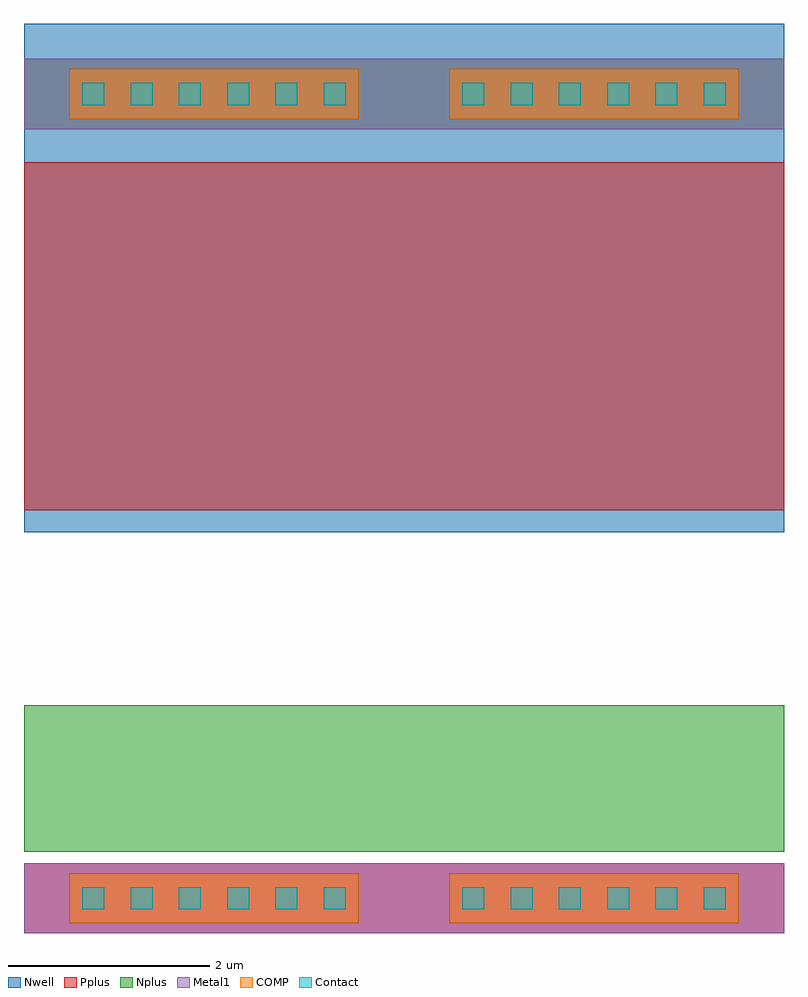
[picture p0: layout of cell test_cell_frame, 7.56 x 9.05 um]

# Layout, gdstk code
import gdstk
lib = gdstk.Library(unit=1e-6, precision=5e-09)
def R(c, l, rs):  # rectangles x0, y0, x1, y1
    for r in rs: c.add(gdstk.rectangle(r[:2], r[2:], *l))
def A(c, l, x, y, w, h, nx, ny, dx, dy):  # array of equal rectangles
    R(c, l, [(x+i*dx, y+j*dy, x+i*dx+w, y+j*dy+h) for i in range(nx) for j in range(ny)])
Nwell = (21, 0)
COMP = (22, 0)
Pplus = (31, 0)
Nplus = (32, 0)
Contact = (33, 0)
Metal1 = (34, 0)

std_cell_frame = lib.new_cell('std_cell_frame')
R(std_cell_frame, Nwell, [(0,3.99,3.78,9.05)])
R(std_cell_frame, COMP, [(0.45,0.1,3.33,0.6), (0.45,8.1,3.33,8.6)])
R(std_cell_frame, Pplus, [(0,0,3.78,0.7), (0,4.21,3.78,7.67)])
R(std_cell_frame, Nplus, [(0,0.81,3.78,2.27), (0,8,3.78,8.7)])
A(std_cell_frame, Contact, 0.58, 0.24, 0.22, 0.22, 6, 2, 0.48, 8)
std_cell_frame.add(gdstk.FlexPath([(0,0.35),(3.78,0.35)], 0.7, ends="flush", simple_path=True, layer=34, datatype=0))  # Metal1
std_cell_frame.add(gdstk.FlexPath([(0,8.35),(3.78,8.35)], 0.7, ends="flush", simple_path=True, layer=34, datatype=0))  # Metal1

test_cell_frame = lib.new_cell('test_cell_frame')
test_cell_frame.add(gdstk.Reference(std_cell_frame, (0,0)))
test_cell_frame.add(gdstk.Reference(std_cell_frame, (3.78,0)))

lib.write_gds('test_cell_frame.gds')
